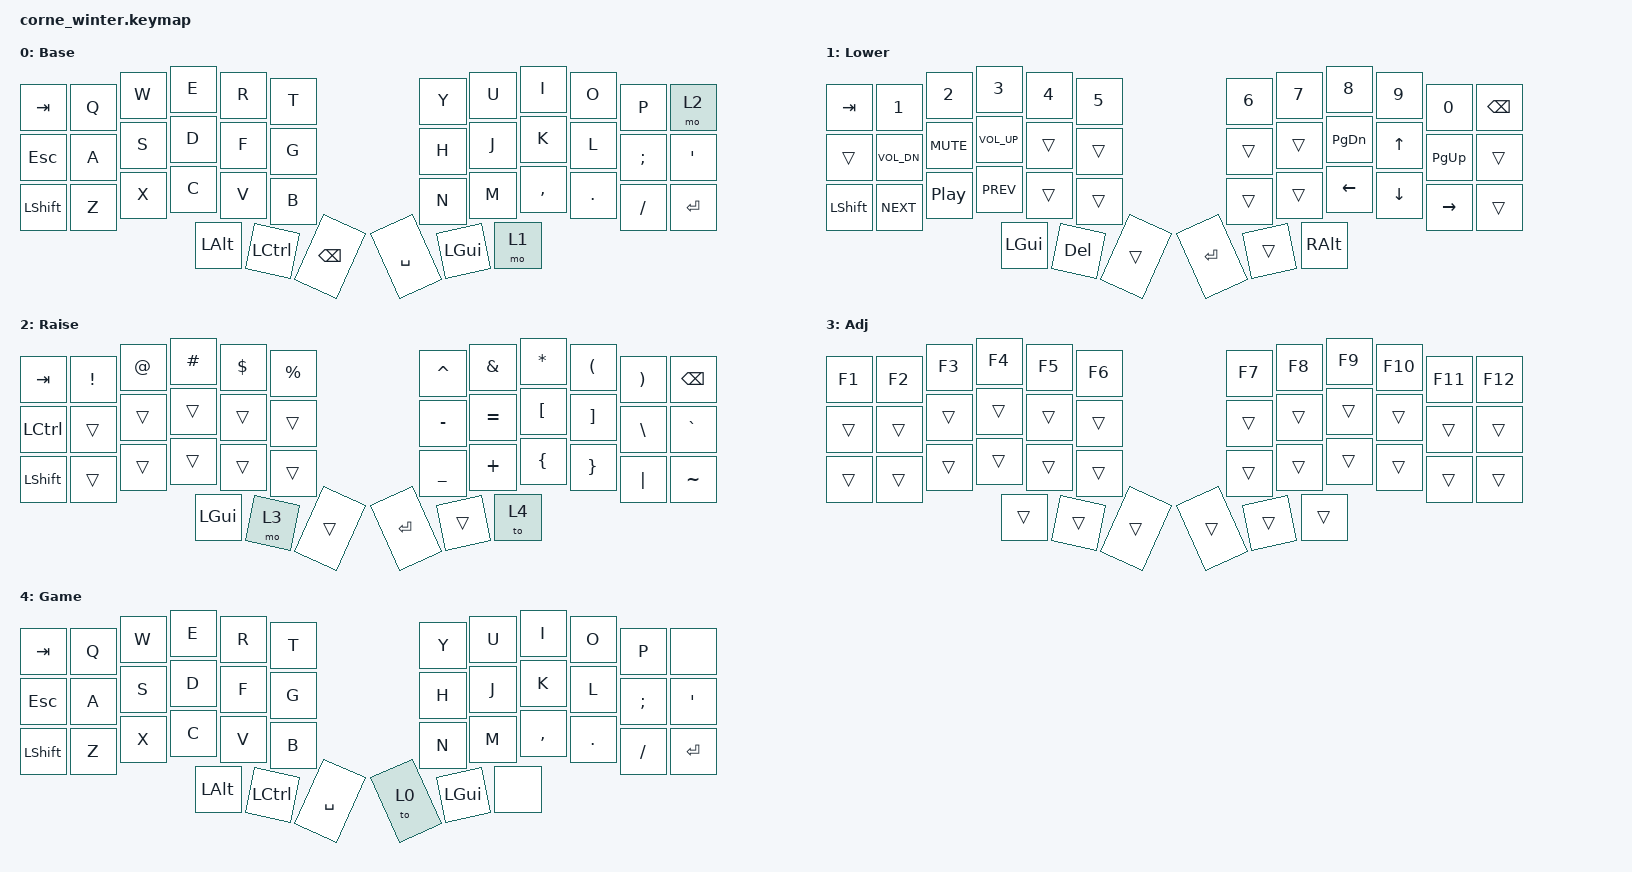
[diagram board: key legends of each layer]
#include <behaviors.dtsi>
#include <dt-bindings/zmk/keys.h>

/ {
    keymap {
        compatible = "zmk,keymap";

        default_layer {
            display-name = "Base";
            bindings = <
                &kp TAB    &kp Q &kp W &kp E &kp R &kp T   &kp Y &kp U  &kp I     &kp O   &kp P    &mo 2
                &kp ESC    &kp A &kp S &kp D &kp F &kp G   &kp H &kp J  &kp K     &kp L   &kp SEMI &kp SQT
                &kp LSHFT  &kp Z &kp X &kp C &kp V &kp B   &kp N &kp M  &kp COMMA &kp DOT &kp FSLH &kp RET
                            &kp LALT &kp LCTRL &kp BSPC   &kp SPACE &kp LGUI &mo 1
                        >;
        };
            lower_layer {
            display-name = "Lower";
            bindings = <
                &kp TAB    &kp N1       &kp N2      &kp N3       &kp N4    &kp N5             &kp N6   &kp N7   &kp N8    &kp N9    &kp N0 &kp BSPC
                &trans     &kp C_VOL_DN &kp C_MUTE  &kp C_VOL_UP &trans    &trans             &trans   &trans   &kp PG_DN &kp UP    &kp PG_UP &trans
                &kp LSHFT  &kp C_NEXT   &kp C_PP    &kp C_PREV   &trans    &trans             &trans   &trans   &kp LEFT  &kp DOWN  &kp RIGHT &trans
                                                    &kp LGUI     &kp DEL   &trans             &kp RET  &trans   &kp RALT
                        >;
        };

            raise_layer {
            display-name = "Raise";
            bindings = <
                &kp  TAB  &kp EXCL &kp AT &kp HASH &kp DLLR &kp PRCNT   &kp CARET &kp AMPS  &kp ASTRK &kp LPAR &kp RPAR &kp BSPC
                &kp LCTRL &trans   &trans &trans   &trans   &trans      &kp MINUS &kp EQUAL &kp LBKT  &kp RBKT &kp BSLH &kp GRAVE
                &kp LSHFT &trans   &trans &trans   &trans   &trans      &kp UNDER &kp PLUS  &kp LBRC  &kp RBRC &kp PIPE &kp TILDE
                                          &kp LGUI &mo 3 &trans         &kp RET   &trans    &to 4
                        >;
        };

            adjust_layer {
            display-name = "Adj";
            bindings = <
                &kp F1 &kp F2  &kp F3 &kp F4 &kp F5 &kp F6   &kp F7 &kp F8  &kp F9 &kp F10 &kp F11 &kp F12
                &trans &trans  &trans &trans &trans &trans   &trans &trans  &trans &trans &trans &trans
                &trans &trans  &trans &trans &trans &trans   &trans &trans  &trans &trans &trans &trans
                                      &trans &trans &trans   &trans &trans  &trans
                        >;
        };
            gaming_layer {
            display-name = "Game";
            bindings = <
                &kp  TAB  &kp Q &kp W &kp E &kp R &kp T   &kp Y &kp U  &kp I     &kp O   &kp P    &none
                &kp ESC    &kp A &kp S &kp D &kp F &kp G   &kp H &kp J  &kp K     &kp L   &kp SEMI &kp SQT
                &kp LSHFT  &kp Z &kp X &kp C &kp V &kp B   &kp N &kp M  &kp COMMA &kp DOT &kp FSLH &kp RET
                            &kp LALT &kp LCTRL &kp SPACE   &to 0 &kp LGUI &none
                        >;
            };
    };
};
